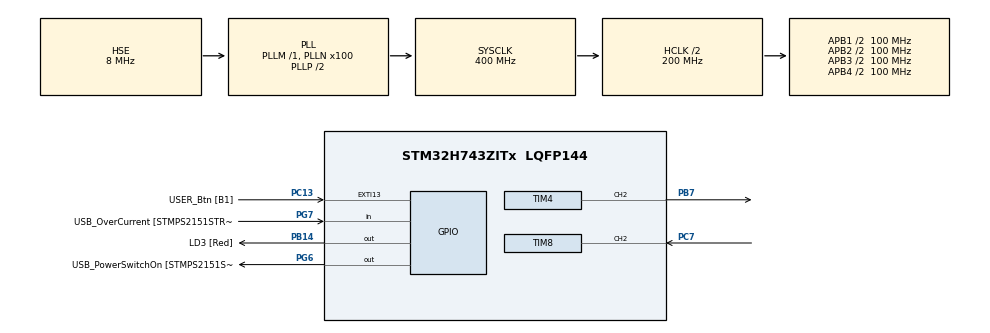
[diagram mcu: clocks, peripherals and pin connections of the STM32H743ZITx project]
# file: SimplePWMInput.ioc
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Mcu.Family=STM32H7
Mcu.Name=STM32H743ZITx
Mcu.Package=LQFP144
NVIC.EXTI15_10_IRQn=true\:0\:0\:false\:false\:true\:true\:true
NVIC.PriorityGroup=NVIC_PRIORITYGROUP_4
NVIC.TIM8_CC_IRQn=true\:0\:0\:false\:false\:true\:true\:true
PB14.GPIO_Label=LD3 [Red]
PB14.Signal=GPIO_Output
PB7.Signal=S_TIM4_CH2
PC13.GPIO_Label=USER_Btn [B1]
PC13.Signal=GPXTI13
PC14-OSC32_IN\ (OSC32_IN).Mode=LSE-External-Oscillator
PC14-OSC32_IN\ (OSC32_IN).Signal=RCC_OSC32_IN
PC15-OSC32_OUT\ (OSC32_OUT).Mode=LSE-External-Oscillator
PC15-OSC32_OUT\ (OSC32_OUT).Signal=RCC_OSC32_OUT
PC7.Signal=S_TIM8_CH2
PG6.GPIO_Label=USB_PowerSwitchOn [STMPS2151STR_EN]
PG6.Signal=GPIO_Output
PG7.GPIO_Label=USB_OverCurrent [STMPS2151STR_FAULT]
PG7.Signal=GPIO_Input
PH0-OSC_IN\ (PH0).GPIO_Label=MCO
PH0-OSC_IN\ (PH0).Mode=HSE-External-Clock-Source
PH0-OSC_IN\ (PH0).Signal=RCC_OSC_IN
PH1-OSC_OUT\ (PH1).Mode=HSE-External-Clock-Source
PH1-OSC_OUT\ (PH1).Signal=RCC_OSC_OUT
ProjectManager.HeapSize=0x200
ProjectManager.StackSize=0x400
ProjectManager.TargetToolchain=TrueSTUDIO
RCC.48MHZClocksFreq_Value=24000000
RCC.ADCCLockSelection=RCC_ADCCLKSOURCE_CLKP
RCC.ADCFreq_Value=64000000
RCC.AHBFreq_Value=216000000
RCC.APB1CLKDivider=RCC_HCLK_DIV4
RCC.APB1Freq_Value=100000000
RCC.APB1TimFreq_Value=108000000
RCC.APB2CLKDivider=RCC_HCLK_DIV2
RCC.APB2Freq_Value=100000000
RCC.APB2TimFreq_Value=216000000
RCC.APB3Freq_Value=100000000
RCC.APB4Freq_Value=100000000
RCC.CortexFreq_Value=400000000
RCC.D1PPRE=RCC_APB3_DIV2
RCC.D2PPRE1=RCC_APB1_DIV2
RCC.D2PPRE2=RCC_APB2_DIV2
RCC.D3PPRE=RCC_APB4_DIV2
RCC.DIVM1=1
RCC.DIVM2=1
RCC.DIVM3=4
RCC.DIVN1=100
RCC.DIVN2=20
RCC.DIVN3=150
RCC.DIVQ1=4
RCC.HCLKFreq_Value=200000000
RCC.HPRE=RCC_HCLK_DIV2
RCC.HSE_VALUE=8000000
RCC.HSI_VALUE=64000000
RCC.PLLFRACN=0
RCC.PLLM=25
RCC.PLLMUL=RCC_PLL_MUL9
RCC.PLLN=432
RCC.PLLQ=9
RCC.PLLSourceVirtual=RCC_PLLSOURCE_HSE
RCC.PRESCALERUSB=RCC_USBCLKSOURCE_PLL_DIV1_5
RCC.PWR_Regulator_Voltage_Scale=PWR_REGULATOR_VOLTAGE_SCALE0
RCC.SYSCLKFreq_VALUE=400000000
RCC.SYSCLKSource=RCC_SYSCLKSOURCE_PLLCLK
RCC.SYSCLKSourceVirtual=RCC_SYSCLKSOURCE_PLLCLK
RCC.USBFreq_Value=200000000
RCC.VCOOutputFreq_Value=432000000
SH.S_TIM4_CH2.0=TIM4_CH2,PWM Generation2 CH2
SH.S_TIM8_CH2.0=TIM8_CH2,PWM_Input_2
TIM4.Channel-PWM\ Generation2\ CH2=TIM_CHANNEL_2
TIM4.Period=65535
TIM4.Pulse-PWM\ Generation2\ CH2=0
TIM8.ICPolarity_1=TIM_INPUTCHANNELPOLARITY_RISING
TIM8.Period=65535
TIM8.Prescaler=3
board=NUCLEO-H743ZI

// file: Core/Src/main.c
/* USER CODE BEGIN Header */
/**
 ******************************************************************************
 * @file           : main.c
 * @brief          : Main program body
 ******************************************************************************
 * @attention
 *
 * <h2><center>&copy; Copyright (c) 2019 STMicroelectronics.
 * All rights reserved.</center></h2>
 *
 * This software component is licensed by ST under BSD 3-Clause license,
 * the "License"; You may not use this file except in compliance with the
 * License. You may obtain a copy of the License at:
 *                        opensource.org/licenses/BSD-3-Clause
 *
 ******************************************************************************
 */
/* USER CODE END Header */

#include "main.h"

TIM_HandleTypeDef htim4;
TIM_HandleTypeDef htim8;

/* USER CODE BEGIN PV */

uint32_t ADC_BUF[8];
uint32_t ADCvalue[8];
uint32_t i = 0;

/* USER CODE END PV */

void SystemClock_Config(void);
static void MX_GPIO_Init(void);
static void MX_TIM8_Init(void);
static void MX_TIM4_Init(void);

int main(void) {

	/* MCU Configuration--------------------------------------------------------*/

	/* Reset of all peripherals, Initializes the Flash interface and the Systick. */
	HAL_Init();

	/* Configure the system clock */
	SystemClock_Config();

	/* Initialize all configured peripherals */
	MX_GPIO_Init();
	MX_TIM8_Init();
	MX_TIM4_Init();
	/* USER CODE BEGIN 2 */

	// https://community.st.com/s/question/0D50X00009XkXBcSAN/has-anybody-converted-the-pwm-frequency-and-duty-cycle-measurement-exmaple-from-the-stm32cubemx-examples-to-use-stm32cubemx-to-configure-the-hardware-ioc-file-to-configure-the-timers
	// 200,000,000hz clock at timer.
	// prescale 3 = 50,000,000counts per second -  counts every 4th clock cycle.
	// PWM device using for test outputs at ~840hz
	// = max ~60000 resolution on timer per pwm cycle
	HAL_TIM_PWM_Start(&htim8, TIM_CHANNEL_2); // start the PWM counters
	HAL_TIM_PWM_Start(&htim8, TIM_CHANNEL_1);

	HAL_TIM_PWM_Start(&htim4, TIM_CHANNEL_2);
	/* USER CODE END 2 */

	/* Infinite loop */
	/* USER CODE BEGIN WHILE */

	/* Captured Value */
	uint32_t Value = 0;
	/* Duty Cycle Value */
	uint32_t Angle = 0; // or DutyCycle = 0 more generically;
	/* Frequency Value */
	uint32_t Frequency = 0;

	while (1) {
		HAL_Delay(10);
		Value = HAL_TIM_ReadCapturedValue(&htim8, TIM_CHANNEL_2);

		if (Value != 0) {
			/* Duty cycle computation */
			Angle = ((HAL_TIM_ReadCapturedValue(&htim8, TIM_CHANNEL_1)) * 360)
					/ Value;
			// dutycycle = ((HAL_TIM_ReadCapturedValue(&htim8, TIM_CHANNEL_1)) * 100) / Value
			/* Frequency computation */
			Frequency = HAL_RCC_GetHCLKFreq() / Value / 4; // calculate PWM frequency, not needed for reading, but good to verify.
		} else {
			Angle = 0;
			Frequency = 0;
		}
		// controls brightness of Blue LED2 on h743zi
		__HAL_TIM_SET_COMPARE(&htim4, TIM_CHANNEL_2, Angle * 182);
	}

	/* USER CODE END WHILE */

}

void SystemClock_Config(void) {
	RCC_OscInitTypeDef RCC_OscInitStruct = { 0 };
	RCC_ClkInitTypeDef RCC_ClkInitStruct = { 0 };

	/** Supply configuration update enable
	 */
	HAL_PWREx_ConfigSupply(PWR_LDO_SUPPLY);
	/** Configure the main internal regulator output voltage
	 */
	__HAL_PWR_VOLTAGESCALING_CONFIG(PWR_REGULATOR_VOLTAGE_SCALE0);

	while (!__HAL_PWR_GET_FLAG(PWR_FLAG_VOSRDY)) {
	}
	/** Initializes the CPU, AHB and APB busses clocks
	 */
	RCC_OscInitStruct.OscillatorType = RCC_OSCILLATORTYPE_HSE;
	RCC_OscInitStruct.HSEState = RCC_HSE_BYPASS;
	RCC_OscInitStruct.PLL.PLLState = RCC_PLL_ON;
	RCC_OscInitStruct.PLL.PLLSource = RCC_PLLSOURCE_HSE;
	RCC_OscInitStruct.PLL.PLLM = 1;
	RCC_OscInitStruct.PLL.PLLN = 100;
	RCC_OscInitStruct.PLL.PLLP = 2;
	RCC_OscInitStruct.PLL.PLLQ = 4;
	RCC_OscInitStruct.PLL.PLLR = 2;
	RCC_OscInitStruct.PLL.PLLRGE = RCC_PLL1VCIRANGE_3;
	RCC_OscInitStruct.PLL.PLLVCOSEL = RCC_PLL1VCOWIDE;
	RCC_OscInitStruct.PLL.PLLFRACN = 0;
	if (HAL_RCC_OscConfig(&RCC_OscInitStruct) != HAL_OK) {
		Error_Handler();
	}
	/** Initializes the CPU, AHB and APB busses clocks
	 */
	RCC_ClkInitStruct.ClockType = RCC_CLOCKTYPE_HCLK | RCC_CLOCKTYPE_SYSCLK
			| RCC_CLOCKTYPE_PCLK1 | RCC_CLOCKTYPE_PCLK2 | RCC_CLOCKTYPE_D3PCLK1
			| RCC_CLOCKTYPE_D1PCLK1;
	RCC_ClkInitStruct.SYSCLKSource = RCC_SYSCLKSOURCE_PLLCLK;
	RCC_ClkInitStruct.SYSCLKDivider = RCC_SYSCLK_DIV1;
	RCC_ClkInitStruct.AHBCLKDivider = RCC_HCLK_DIV2;
	RCC_ClkInitStruct.APB3CLKDivider = RCC_APB3_DIV2;
	RCC_ClkInitStruct.APB1CLKDivider = RCC_APB1_DIV2;
	RCC_ClkInitStruct.APB2CLKDivider = RCC_APB2_DIV2;
	RCC_ClkInitStruct.APB4CLKDivider = RCC_APB4_DIV2;

	if (HAL_RCC_ClockConfig(&RCC_ClkInitStruct, FLASH_LATENCY_2) != HAL_OK) {
		Error_Handler();
	}
}

static void MX_TIM4_Init(void) {

	TIM_MasterConfigTypeDef sMasterConfig = { 0 };
	TIM_OC_InitTypeDef sConfigOC = { 0 };

	htim4.Instance = TIM4;
	htim4.Init.Prescaler = 0;
	htim4.Init.CounterMode = TIM_COUNTERMODE_UP;
	htim4.Init.Period = 65535;
	htim4.Init.ClockDivision = TIM_CLOCKDIVISION_DIV1;
	htim4.Init.AutoReloadPreload = TIM_AUTORELOAD_PRELOAD_DISABLE;
	if (HAL_TIM_PWM_Init(&htim4) != HAL_OK) {
		Error_Handler();
	}
	sMasterConfig.MasterOutputTrigger = TIM_TRGO_RESET;
	sMasterConfig.MasterSlaveMode = TIM_MASTERSLAVEMODE_DISABLE;
	if (HAL_TIMEx_MasterConfigSynchronization(&htim4, &sMasterConfig)
			!= HAL_OK) {
		Error_Handler();
	}
	sConfigOC.OCMode = TIM_OCMODE_PWM1;
	sConfigOC.Pulse = 0;
	sConfigOC.OCPolarity = TIM_OCPOLARITY_HIGH;
	sConfigOC.OCFastMode = TIM_OCFAST_DISABLE;
	if (HAL_TIM_PWM_ConfigChannel(&htim4, &sConfigOC, TIM_CHANNEL_2)
			!= HAL_OK) {
		Error_Handler();
	}
	HAL_TIM_MspPostInit(&htim4);

}

static void MX_TIM8_Init(void) {

	TIM_SlaveConfigTypeDef sSlaveConfig = { 0 };
	TIM_IC_InitTypeDef sConfigIC = { 0 };
	TIM_MasterConfigTypeDef sMasterConfig = { 0 };

	htim8.Instance = TIM8;
	htim8.Init.Prescaler = 3;
	htim8.Init.CounterMode = TIM_COUNTERMODE_UP;
	htim8.Init.Period = 65535;
	htim8.Init.ClockDivision = TIM_CLOCKDIVISION_DIV1;
	htim8.Init.RepetitionCounter = 0;
	htim8.Init.AutoReloadPreload = TIM_AUTORELOAD_PRELOAD_DISABLE;
	if (HAL_TIM_IC_Init(&htim8) != HAL_OK) {
		Error_Handler();
	}
	sSlaveConfig.SlaveMode = TIM_SLAVEMODE_RESET;
	sSlaveConfig.InputTrigger = TIM_TS_TI2FP2;
	sSlaveConfig.TriggerPolarity = TIM_INPUTCHANNELPOLARITY_FALLING;
	sSlaveConfig.TriggerPrescaler = TIM_ICPSC_DIV1;
	sSlaveConfig.TriggerFilter = 0;
	if (HAL_TIM_SlaveConfigSynchro(&htim8, &sSlaveConfig) != HAL_OK) {
		Error_Handler();
	}
	sConfigIC.ICPolarity = TIM_INPUTCHANNELPOLARITY_RISING;
	sConfigIC.ICSelection = TIM_ICSELECTION_INDIRECTTI;
	sConfigIC.ICPrescaler = TIM_ICPSC_DIV1;
	sConfigIC.ICFilter = 0;
	if (HAL_TIM_IC_ConfigChannel(&htim8, &sConfigIC, TIM_CHANNEL_1) != HAL_OK) {
		Error_Handler();
	}
	sConfigIC.ICPolarity = TIM_INPUTCHANNELPOLARITY_FALLING;
	sConfigIC.ICSelection = TIM_ICSELECTION_DIRECTTI;
	if (HAL_TIM_IC_ConfigChannel(&htim8, &sConfigIC, TIM_CHANNEL_2) != HAL_OK) {
		Error_Handler();
	}
	sMasterConfig.MasterOutputTrigger = TIM_TRGO_RESET;
	sMasterConfig.MasterOutputTrigger2 = TIM_TRGO2_RESET;
	sMasterConfig.MasterSlaveMode = TIM_MASTERSLAVEMODE_DISABLE;
	if (HAL_TIMEx_MasterConfigSynchronization(&htim8, &sMasterConfig)
			!= HAL_OK) {
		Error_Handler();
	}

}

static void MX_GPIO_Init(void) {
	GPIO_InitTypeDef GPIO_InitStruct = { 0 };

	/* GPIO Ports Clock Enable */
	__HAL_RCC_GPIOC_CLK_ENABLE();
	__HAL_RCC_GPIOH_CLK_ENABLE();
	__HAL_RCC_GPIOB_CLK_ENABLE();
	__HAL_RCC_GPIOG_CLK_ENABLE();

	/*Configure GPIO pin Output Level */
	HAL_GPIO_WritePin(LD3_GPIO_Port, LD3_Pin, GPIO_PIN_RESET);

	/*Configure GPIO pin Output Level */
	HAL_GPIO_WritePin(USB_PowerSwitchOn_GPIO_Port, USB_PowerSwitchOn_Pin,
			GPIO_PIN_RESET);

	/*Configure GPIO pin : USER_Btn_Pin */
	GPIO_InitStruct.Pin = USER_Btn_Pin;
	GPIO_InitStruct.Mode = GPIO_MODE_IT_RISING;
	GPIO_InitStruct.Pull = GPIO_NOPULL;
	HAL_GPIO_Init(USER_Btn_GPIO_Port, &GPIO_InitStruct);

	/*Configure GPIO pin : LD3_Pin */
	GPIO_InitStruct.Pin = LD3_Pin;
	GPIO_InitStruct.Mode = GPIO_MODE_OUTPUT_PP;
	GPIO_InitStruct.Pull = GPIO_NOPULL;
	GPIO_InitStruct.Speed = GPIO_SPEED_FREQ_LOW;
	HAL_GPIO_Init(LD3_GPIO_Port, &GPIO_InitStruct);

	/*Configure GPIO pin : USB_PowerSwitchOn_Pin */
	GPIO_InitStruct.Pin = USB_PowerSwitchOn_Pin;
	GPIO_InitStruct.Mode = GPIO_MODE_OUTPUT_PP;
	GPIO_InitStruct.Pull = GPIO_NOPULL;
	GPIO_InitStruct.Speed = GPIO_SPEED_FREQ_LOW;
	HAL_GPIO_Init(USB_PowerSwitchOn_GPIO_Port, &GPIO_InitStruct);

	/*Configure GPIO pin : USB_OverCurrent_Pin */
	GPIO_InitStruct.Pin = USB_OverCurrent_Pin;
	GPIO_InitStruct.Mode = GPIO_MODE_INPUT;
	GPIO_InitStruct.Pull = GPIO_NOPULL;
	HAL_GPIO_Init(USB_OverCurrent_GPIO_Port, &GPIO_InitStruct);

	/* EXTI interrupt init*/
	HAL_NVIC_SetPriority(EXTI15_10_IRQn, 0, 0);
	HAL_NVIC_EnableIRQ(EXTI15_10_IRQn);

}

/* USER CODE BEGIN 4 */

/* Captured Value */
volatile uint32_t uwIC2Value = 0;
/* Duty Cycle Value */
volatile uint32_t uwDutyCycle = 0;
/* Frequency Value */
volatile uint32_t uwFrequency = 0;

/* USER CODE END 4 */

void Error_Handler(void) {
}

/************************ (C) COPYRIGHT STMicroelectronics *****END OF FILE****/
